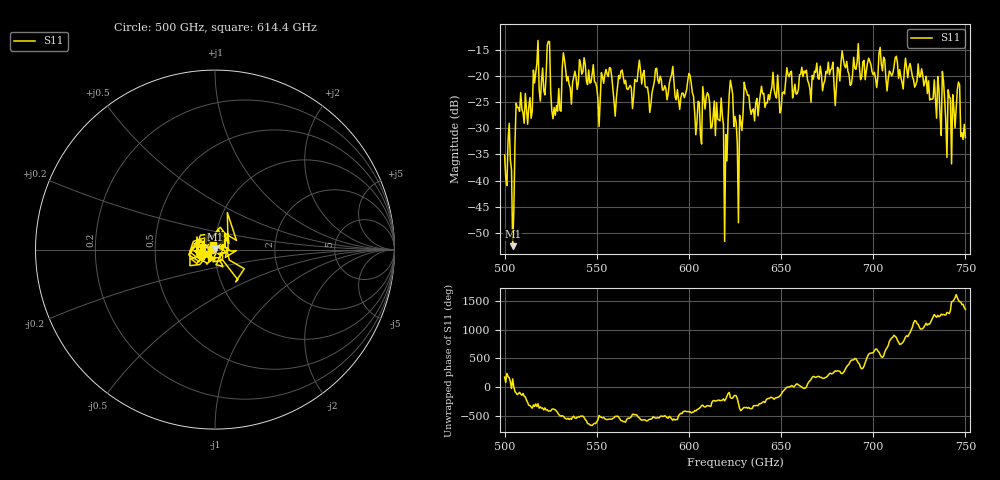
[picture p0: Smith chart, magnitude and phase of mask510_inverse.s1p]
!Created with skrf (http://scikit-rf.org).
# GHz S MA R 50.0
!freq magS11 angS11
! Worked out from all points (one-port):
!   401 points, 500 GHz to 750 GHz, reference 50 ohm
!   lowest |S11| = -52.5 dB at 504.4 GHz (marker M1), VSWR 1.00, Z = 49.8 + j0.14 ohm
!   |S11| at or under -10 dB: start of sweep to end of sweep
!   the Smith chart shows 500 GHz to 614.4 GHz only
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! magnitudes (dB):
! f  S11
! 500 GHz  -35.1
! 502.5 GHz  -29.1
! 504.4 GHz  -52.5
! 507.5 GHz  -26.0
! 513.8 GHz  -24.1
! 516.9 GHz  -19.4
! 520.6 GHz  -18.5
! 523.8 GHz  -13.4
! 526.9 GHz  -26.0
! 531.2 GHz  -18.5
! 562.5 GHz  -20.5
! 593.8 GHz  -22.6
! 600 GHz  -19.5
! 605.6 GHz  -25.1
! 608.8 GHz  -26.3
! 616.2 GHz  -28.4
! 620 GHz  -31.2
! 622.5 GHz  -20.8
! 625 GHz  -27.8
! 627.5 GHz  -27.5
! 631.2 GHz  -23.0
! 634.4 GHz  -26.5
! 656.2 GHz  -24.2
! 687.5 GHz  -21.8
! 718.8 GHz  -20.4
! 741.2 GHz  -24.0
! 745.6 GHz  -22.6
! 750 GHz  -31.8
